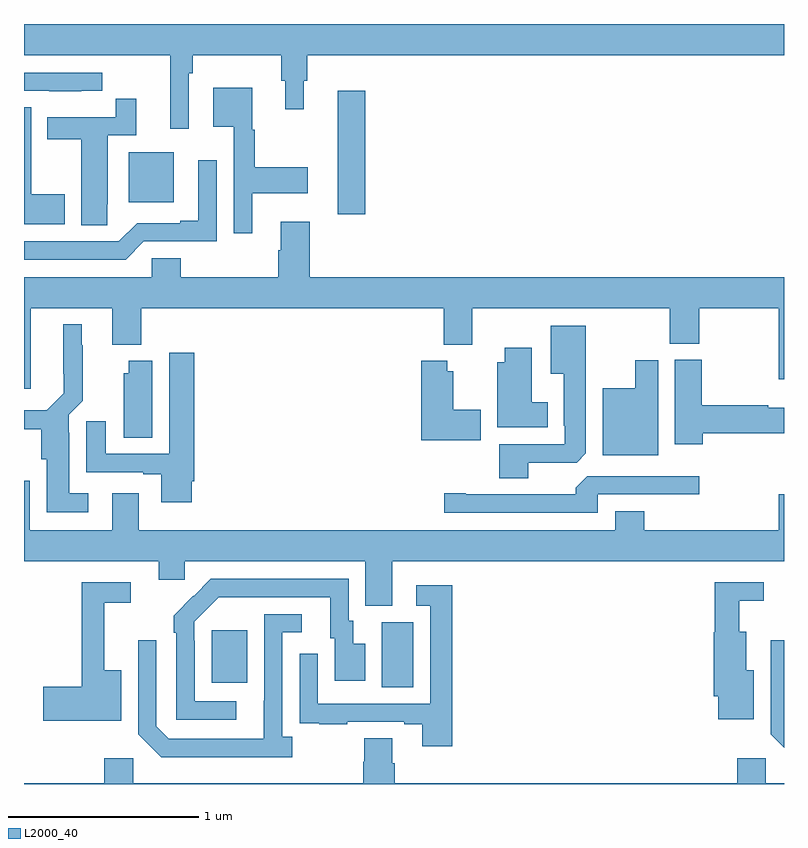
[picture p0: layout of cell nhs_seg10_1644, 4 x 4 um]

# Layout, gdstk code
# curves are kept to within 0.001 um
import gdstk
lib = gdstk.Library(unit=1e-6, precision=1e-09)
def R(c, l, rs):  # rectangles x0, y0, x1, y1
    for r in rs: c.add(gdstk.rectangle(r[:2], r[2:], *l))
def P(c, l, *ps):  # polygons
    for p in ps: c.add(gdstk.Polygon(p, *l))
L2000_40 = (2000, 40)

nhs_seg10_1644 = lib.new_cell('nhs_seg10_1644')
R(nhs_seg10_1644, L2000_40, [(198.884,1277.008,199.048,1277.352), (197.987,1277.033,198.175,1277.308), (198.65,1279.5,198.797,1280.149), (197.552,1279.562,197.788,1279.825)])
P(nhs_seg10_1644, L2000_40, [(197.868,1280.24),(197.888,1280.24),(197.888,1280.336),(198.355,1280.336),(198.355,1280.202),(198.374,1280.202),(198.374,1280.052),(198.472,1280.052),(198.472,1280.202),(198.491,1280.202),(198.491,1280.336),(201,1280.336),(201,1280.5),(197,1280.5),(197,1280.336),(197.771,1280.336),(197.771,1279.95),(197.868,1279.95)],
  [(197.3,1280.148),(197.413,1280.148),(197.413,1280.244),(197,1280.244),(197,1280.148),(197.134,1280.148),(197.134,1280.147),(197.3,1280.147)],
  [(198.202,1279.61),(198.493,1279.61),(198.493,1279.745),(198.214,1279.745),(198.214,1279.944),(198.202,1279.944),(198.202,1280.164),(197.996,1280.164),(197.996,1279.958),(198.105,1279.958),(198.105,1279.398),(198.202,1279.398)],
  [(197.439,1279.552),(197.44,1279.552),(197.44,1279.914),(197.591,1279.914),(197.591,1280.107),(197.482,1280.107),(197.482,1280.01),(197.123,1280.01),(197.123,1279.894),(197.3,1279.894),(197.3,1279.441),(197.439,1279.441)],
  [(197.215,1279.605),(197.038,1279.605),(197.038,1280.063),(197,1280.063),(197,1279.445),(197.215,1279.445)],
  [(197.631,1279.356),(198.015,1279.356),(198.015,1279.783),(197.918,1279.783),(197.918,1279.465),(197.822,1279.465),(197.822,1279.452),(197.595,1279.452),(197.499,1279.356),(197,1279.356),(197,1279.26),(197.535,1279.26)],
  [(197.035,1279.004),(197.465,1279.004),(197.465,1278.812),(197.618,1278.812),(197.618,1279.004),(199.208,1279.004),(199.208,1278.812),(199.36,1278.812),(199.36,1279.004),(200.398,1279.004),(200.398,1278.817),(200.553,1278.817),(200.553,1279.004),(200.972,1279.004),(200.972,1278.63),(201,1278.63),(201,1279.168),(198.503,1279.168),(198.503,1279.459),(198.35,1279.459),(198.35,1279.31),(198.338,1279.31),(198.338,1279.168),(197.825,1279.168),(197.825,1279.266),(197.673,1279.266),(197.673,1279.168),(197,1279.168),(197,1278.579),(197.035,1278.579)],
  [(197.338,1278.031),(197.239,1278.031),(197.239,1278.35),(197.235,1278.35),(197.235,1278.444),(197.309,1278.518),(197.309,1278.809),(197.305,1278.809),(197.305,1278.919),(197.207,1278.919),(197.208,1278.556),(197.12,1278.468),(197,1278.468),(197,1278.367),(197.09,1278.367),(197.09,1278.21),(197.12,1278.21),(197.12,1277.93),(197.338,1277.93)],
  [(199.654,1278.192),(199.908,1278.192),(199.957,1278.241),(199.957,1278.913),(199.772,1278.913),(199.772,1278.659),(199.841,1278.659),(199.841,1278.385),(199.845,1278.385),(199.845,1278.288),(199.502,1278.288),(199.502,1278.109),(199.654,1278.109)],
  [(199.756,1278.508),(199.672,1278.508),(199.672,1278.796),(199.529,1278.796),(199.529,1278.721),(199.49,1278.721),(199.49,1278.377),(199.756,1278.377)],
  [(197.884,1278.094),(197.897,1278.094),(197.897,1278.769),(197.765,1278.769),(197.765,1278.237),(197.431,1278.237),(197.431,1278.409),(197.327,1278.409),(197.327,1278.141),(197.627,1278.141),(197.627,1278.129),(197.723,1278.129),(197.723,1277.982),(197.884,1277.982)],
  [(200.573,1278.347),(201,1278.347),(201,1278.481),(200.918,1278.481),(200.918,1278.494),(200.568,1278.494),(200.568,1278.732),(200.426,1278.732),(200.426,1278.288),(200.573,1278.288)],
  [(200.338,1278.73),(200.216,1278.73),(200.216,1278.583),(200.045,1278.583),(200.045,1278.23),(200.338,1278.23)],
  [(199.405,1278.471),(199.258,1278.471),(199.258,1278.673),(199.228,1278.673),(199.228,1278.727),(199.091,1278.727),(199.091,1278.308),(199.405,1278.308)],
  [(197.674,1278.727),(197.552,1278.727),(197.552,1278.663),(197.525,1278.663),(197.525,1278.322),(197.674,1278.322)],
  [(200.019,1278.024),(200.554,1278.024),(200.554,1278.12),(199.965,1278.12),(199.904,1278.058),(199.904,1278.024),(199.324,1278.024),(199.324,1278.029),(199.212,1278.029),(199.212,1277.928),(200.019,1277.928)],
  [(198.937,1277.672),(201,1277.672),(201,1278.025),(200.972,1278.025),(200.972,1277.836),(200.264,1277.836),(200.264,1277.935),(200.111,1277.935),(200.111,1277.836),(197.605,1277.836),(197.605,1278.031),(197.465,1278.031),(197.465,1277.836),(197.031,1277.836),(197.031,1278.097),(197,1278.097),(197,1277.672),(197.708,1277.672),(197.708,1277.574),(197.847,1277.574),(197.847,1277.672),(198.797,1277.672),(198.797,1277.437),(198.937,1277.437)],
  [(198.118,1276.935),(197.898,1276.935),(197.898,1277.255),(197.895,1277.255),(197.895,1277.355),(198.024,1277.484),(198.611,1277.484),(198.611,1277.268),(198.635,1277.268),(198.635,1277.043),(198.796,1277.043),(198.796,1277.239),(198.733,1277.239),(198.733,1277.358),(198.708,1277.358),(198.708,1277.58),(197.984,1277.58),(197.787,1277.385),(197.787,1277.297),(197.802,1277.297),(197.802,1276.839),(198.118,1276.839)],
  [(200.842,1277.098),(200.8,1277.098),(200.8,1277.302),(200.764,1277.302),(200.764,1277.465),(200.893,1277.465),(200.893,1277.562),(200.635,1277.562),(200.635,1277.298),(200.63,1277.298),(200.63,1276.962),(200.654,1276.962),(200.654,1276.841),(200.842,1276.841)],
  [(197.512,1277.098),(197.423,1277.098),(197.423,1277.454),(197.563,1277.454),(197.563,1277.562),(197.305,1277.562),(197.305,1277.012),(197.1,1277.012),(197.1,1276.834),(197.512,1276.834)],
  [(199.253,1277.545),(199.065,1277.545),(199.065,1277.439),(199.137,1277.439),(199.137,1276.923),(198.546,1276.923),(198.546,1277.185),(198.45,1277.185),(198.45,1276.93),(198.451,1276.93),(198.451,1276.821),(198.553,1276.821),(198.553,1276.815),(198.701,1276.815),(198.701,1276.827),(199.001,1276.827),(199.001,1276.815),(199.097,1276.815),(199.097,1276.698),(199.253,1276.698)],
  [(198.412,1276.75),(198.36,1276.75),(198.36,1277.298),(198.463,1277.298),(198.463,1277.394),(198.264,1277.394),(198.263,1276.737),(197.763,1276.737),(197.697,1276.803),(197.697,1277.257),(197.601,1277.257),(197.601,1276.761),(197.722,1276.64),(198.412,1276.64)],
  [(201,1277.257),(200.931,1277.257),(200.931,1276.761),(201,1276.692)],
  [(201,1276.504),(200.904,1276.504),(200.904,1276.636),(200.753,1276.636),(200.753,1276.504),(198.95,1276.504),(198.95,1276.61),(198.937,1276.61),(198.937,1276.742),(198.79,1276.742),(198.79,1276.617),(198.785,1276.617),(198.785,1276.504),(197.574,1276.504),(197.574,1276.636),(197.423,1276.636),(197.423,1276.504),(197,1276.504),(197,1276.5),(201,1276.5)])

lib.write_gds('nhs_seg10_1644.gds')
